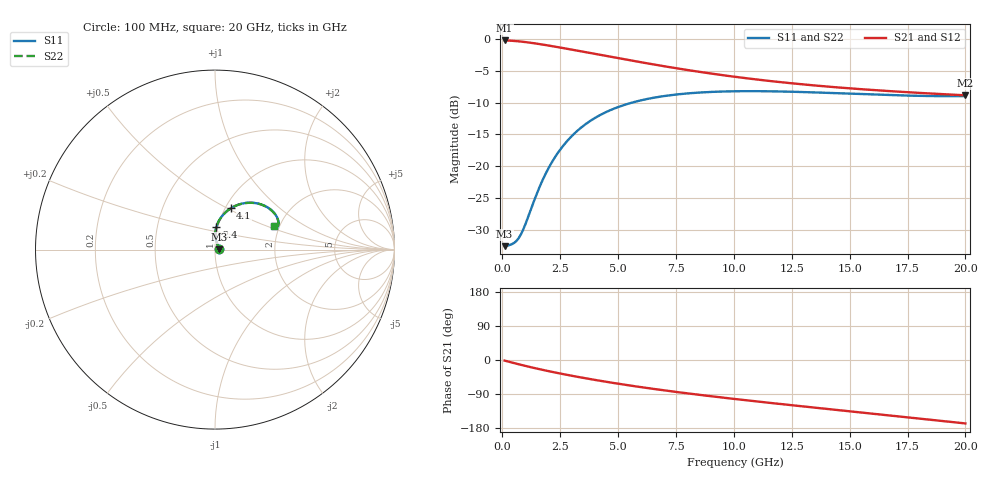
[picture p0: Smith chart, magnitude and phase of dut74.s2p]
! Touchstone file exported from HFSS 2024.1.0
!  File:  C:/UserFiles/LocalFiles/RDL_TSV_Batchsim/temp_RDL_TSV_74_1779412456.aedt
!  Generated:  09:33:02 AM May 22, 2026
!  Design:  RDL_TSV
!  Project:  temp_RDL_TSV_74_1779412456
!  Setup:  Setup1
!  Solution:  Sweep
! Variables:
!  dtsv = 10.57um
!  hbump = 3um
!  htsv = 75.47um
!  ldown = 455.39um
!  lrdl = 193.27um
!  p = 40
!  p1 = 58.56um
!  rhole = 10um
!  subl = 2139.25um
!  t = 450um
!  tdown = 2.27um
!  trdl = 2.17um
!  viad = 10um
!  wdown = 15.66um
!  wrdl = 12.64um
!  xbump = 18um
# GHz S MA R 50.000000
! Terminal data exported
! Port[1] = TM1_1_T1
! Port[2] = TM1_4_T1
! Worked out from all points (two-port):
!   200 points, 100 MHz to 20 GHz, reference 50 ohm
!   highest |S21| = -0.21 dB at 100 MHz (marker M1); lowest = -8.8 dB at 20 GHz (marker M2)
!   |S21| within 3 dB of the highest: start of sweep to 5.338 GHz
!   lowest |S11| = -32.6 dB at 100 MHz (marker M3), VSWR 1.05, Z = 52.4 + j0.287 ohm
!   |S11| at or under -10 dB: start of sweep to 5.588 GHz
!   |S22| runs from -32.6 to -8.2 dB; largest |S21 - S12| = 9e-15
!   S11 on the Smith chart (normalised r, x): 100 MHz: 1.05, +0.01; 2.4 GHz: 0.98, +0.25; 4.1 GHz: 1.06, +0.52; 20 GHz: 1.87, +0.57
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0.1  0.02354 6.7  0.9761 -1.6  0.9761 -1.6  0.02354 6.7
! Gamma 0 0 0 0
! Port Impedance 50 0 50 0
0.5  0.02491 34.2  0.9681 -8.0  0.9681 -8.0  0.02492 34.2
0.7  0.02712 49.4  0.9611 -11.1  0.9611 -11.1  0.02712 49.4
0.8  0.02906 56.9  0.957 -12.7  0.957 -12.7  0.02907 56.9
1  0.03511 70.0  0.9478 -15.6  0.9478 -15.6  0.03511 69.9
1.4  0.05517 84.8  0.9265 -21.4  0.9265 -21.4  0.05514 84.7
1.7  0.07496 88.4  0.9087 -25.5  0.9087 -25.5  0.0749 88.3
2  0.0969 88.6  0.8902 -29.4  0.8902 -29.4  0.09681 88.6
2.4  0.1275 86.4  0.8649 -34.5  0.8649 -34.5  0.1274 86.3
2.9  0.1655 81.8  0.8333 -40.4  0.8333 -40.4  0.1653 81.7
3.5  0.208 75.5  0.7961 -47.2  0.7961 -47.2  0.2078 75.4
4.1  0.2457 69.2  0.7601 -53.6  0.7601 -53.6  0.2454 69.2
4.7  0.278 63.3  0.7256 -59.6  0.7256 -59.6  0.2777 63.3
5.3  0.305 57.9  0.693 -65.4  0.693 -65.4  0.3047 57.9
6.8  0.3525 46.6  0.6203 -78.5  0.6203 -78.5  0.352 46.5
8.4  0.3789 37.3  0.5569 -91.1  0.5569 -91.1  0.3784 37.3
10.1  0.3891 30.1  0.504 -103.3  0.504 -103.3  0.3886 30.1
11.7  0.3884 25.3  0.4654 -114.1  0.4654 -114.1  0.3878 25.3
13.4  0.3815 21.9  0.4336 -125.1  0.4336 -125.1  0.3808 21.9
15  0.3724 20.2  0.4102 -135.3  0.4102 -135.3  0.3717 20.2
16.7  0.3631 19.8  0.3904 -146.2  0.3904 -146.2  0.3624 19.8
20  0.3563 22.1  0.3615 -167.4  0.3615 -167.4  0.3556 22.1
